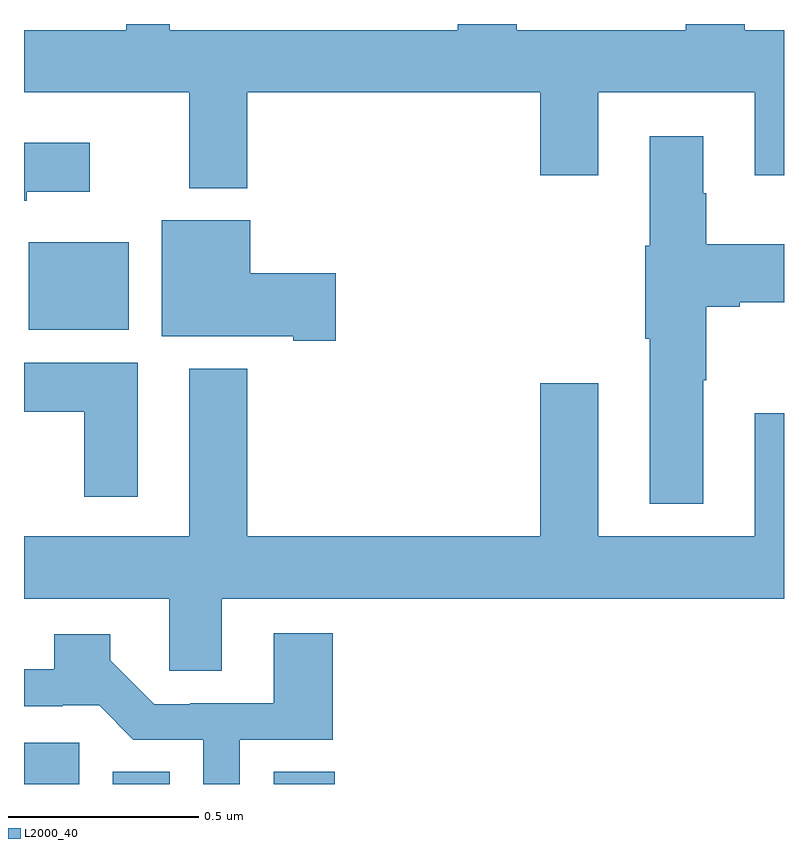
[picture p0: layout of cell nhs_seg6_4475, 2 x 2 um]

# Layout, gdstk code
import gdstk
lib = gdstk.Library(unit=1e-6, precision=1e-09)
def R(c, l, rs):  # rectangles x0, y0, x1, y1
    for r in rs: c.add(gdstk.rectangle(r[:2], r[2:], *l))
def P(c, l, *ps):  # polygons
    for p in ps: c.add(gdstk.Polygon(p, *l))
L2000_40 = (2000, 40)

nhs_seg6_4475 = lib.new_cell('nhs_seg6_4475')
R(nhs_seg6_4475, L2000_40, [(170,961.5,170.146,961.609), (170.234,961.5,170.383,961.532), (170.657,961.5,170.818,961.532), (170.012,962.696,170.275,962.926)])
P(nhs_seg6_4475, L2000_40, [(170.588,963.32),(171.359,963.32),(171.359,963.102),(171.511,963.102),(171.511,963.32),(171.923,963.32),(171.923,963.102),(172,963.102),(172,963.484),(171.897,963.484),(171.897,963.5),(171.742,963.5),(171.742,963.484),(171.297,963.484),(171.297,963.5),(171.142,963.5),(171.142,963.484),(170.383,963.484),(170.383,963.5),(170.269,963.5),(170.269,963.484),(170,963.484),(170,963.32),(170.435,963.32),(170.435,963.068),(170.588,963.068)],
  [(171.787,962.563),(171.795,962.563),(171.795,962.756),(171.883,962.756),(171.883,962.768),(172,962.768),(172,962.92),(171.795,962.92),(171.795,963.054),(171.787,963.054),(171.787,963.205),(171.647,963.205),(171.647,962.916),(171.635,962.916),(171.635,962.672),(171.647,962.672),(171.647,962.237),(171.787,962.237)],
  [(170.007,963.059),(170.173,963.059),(170.173,963.187),(170,963.187),(170,963.035),(170.007,963.035)],
  [(170.821,962.844),(170.596,962.844),(170.596,962.983),(170.363,962.983),(170.363,962.678),(170.708,962.678),(170.708,962.666),(170.821,962.666)],
  [(170.299,962.608),(170,962.608),(170,962.48),(170.159,962.48),(170.159,962.256),(170.299,962.256)],
  [(170.521,961.988),(172,961.988),(172,962.476),(171.923,962.476),(171.923,962.152),(171.511,962.152),(171.511,962.554),(171.359,962.554),(171.359,962.152),(170.588,962.152),(170.588,962.593),(170.435,962.593),(170.435,962.152),(170,962.152),(170,961.988),(170.382,961.988),(170.382,961.798),(170.521,961.798)],
  [(170.568,961.617),(170.813,961.617),(170.813,961.897),(170.657,961.897),(170.657,961.713),(170.437,961.713),(170.437,961.71),(170.343,961.71),(170.227,961.826),(170.227,961.894),(170.08,961.894),(170.08,961.802),(170,961.802),(170,961.704),(170.102,961.704),(170.102,961.707),(170.198,961.707),(170.288,961.617),(170.472,961.617),(170.472,961.5),(170.568,961.5)])

lib.write_gds('nhs_seg6_4475.gds')
